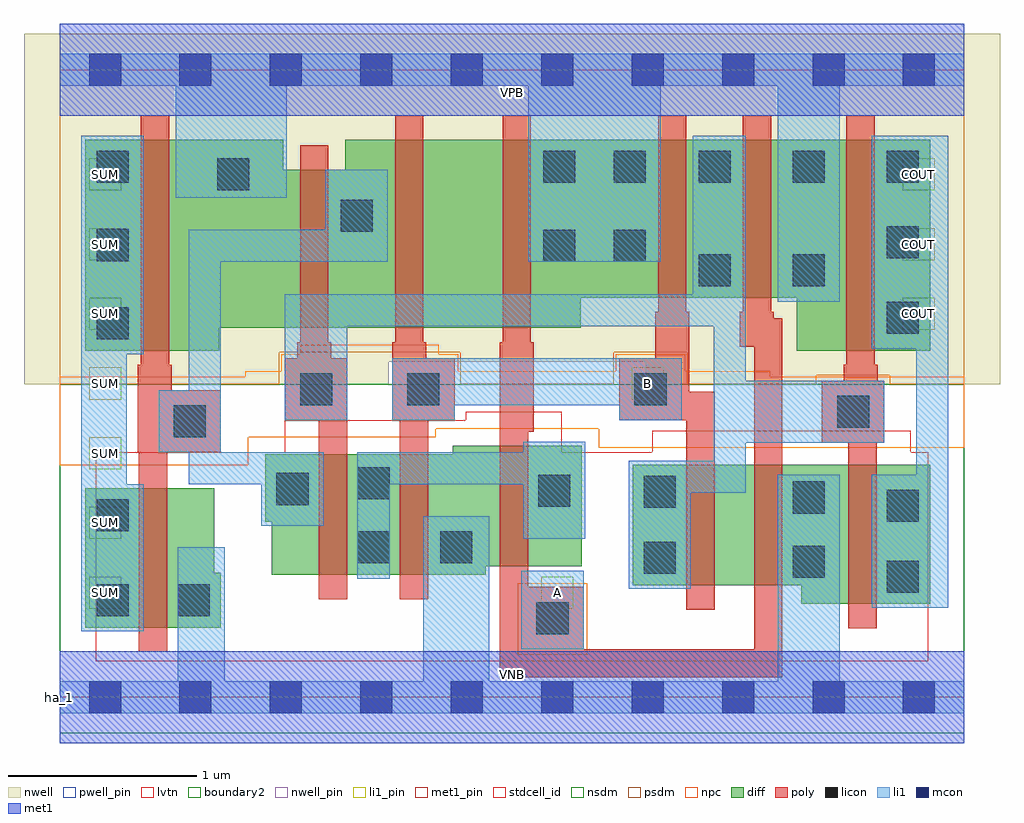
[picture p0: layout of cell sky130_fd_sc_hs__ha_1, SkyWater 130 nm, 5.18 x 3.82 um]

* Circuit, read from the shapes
.subckt sky130_fd_sc_hs__ha_1 A B COUT SUM VGND VNB VPB VPWR
XM1 VGND n1 SUM VNB sky130_fd_pr__nfet_01v8_lvt w=0.74 l=0.15
XM2 n2 n3 n1 VNB sky130_fd_pr__nfet_01v8_lvt w=0.64 l=0.15
XM3 VGND B n2 VNB sky130_fd_pr__nfet_01v8_lvt w=0.64 l=0.15
XM4 n2 A VGND VNB sky130_fd_pr__nfet_01v8_lvt w=0.64 l=0.15
XM5 n4 B n3 VNB sky130_fd_pr__nfet_01v8_lvt w=0.64 l=0.15
XM6 VGND A n4 VNB sky130_fd_pr__nfet_01v8_lvt w=0.64 l=0.15
XM7 COUT n3 VGND VNB sky130_fd_pr__nfet_01v8_lvt w=0.74 l=0.15
XM8 VPWR n1 SUM VPB sky130_fd_pr__pfet_01v8 w=1.12 l=0.15
XM9 n1 n3 VPWR VPB sky130_fd_pr__pfet_01v8 w=0.84 l=0.15
XM10 n5 B n1 VPB sky130_fd_pr__pfet_01v8 w=1 l=0.15
XM11 VPWR A n5 VPB sky130_fd_pr__pfet_01v8 w=1 l=0.15
XM12 n3 B VPWR VPB sky130_fd_pr__pfet_01v8 w=0.84 l=0.15
XM13 VPWR A n3 VPB sky130_fd_pr__pfet_01v8 w=0.84 l=0.15
XM14 COUT n3 VPWR VPB sky130_fd_pr__pfet_01v8 w=1.12 l=0.15
.ends

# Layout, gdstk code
import gdstk
lib = gdstk.Library(unit=1e-6, precision=1e-09)
def R(c, l, rs):  # rectangles x0, y0, x1, y1
    for r in rs: c.add(gdstk.rectangle(r[:2], r[2:], *l))
def A(c, l, x, y, w, h, nx, ny, dx, dy):  # array of equal rectangles
    R(c, l, [(x+i*dx, y+j*dy, x+i*dx+w, y+j*dy+h) for i in range(nx) for j in range(ny)])
def P(c, l, *ps):  # polygons
    for p in ps: c.add(gdstk.Polygon(p, *l))
nwell_pin = (64, 16)
nwell = (64, 20)
diff = (65, 20)
poly = (66, 20)
licon = (66, 44)
li1_pin = (67, 16)
li1 = (67, 20)
mcon = (67, 44)
met1_pin = (68, 16)
met1 = (68, 20)
stdcell_id = (81, 4)
nsdm = (93, 44)
psdm = (94, 20)
npc = (95, 20)
pwell_pin = (122, 16)
lvtn = (125, 44)
boundary2 = (236, 0)

sky130_fd_sc_hs__ha_1 = lib.new_cell('sky130_fd_sc_hs__ha_1')
R(sky130_fd_sc_hs__ha_1, nwell_pin, [(0,3.085,4.8,3.33)])
P(sky130_fd_sc_hs__ha_1, nwell, [(4.99,3.52),(-0.19,3.52),(-0.19,1.66),(1.745,1.66),(1.745,1.78),(3.11,1.78),(3.11,1.66),(4.99,1.66)])
P(sky130_fd_sc_hs__ha_1, diff, [(0.855,0.66),(0.82,0.66),(0.82,1.11),(0.135,1.11),(0.135,0.37),(0.855,0.37)],
  [(2.77,1.335),(2.085,1.335),(2.085,1.29),(1.09,1.29),(1.09,0.93),(1.125,0.93),(1.125,0.65),(2.26,0.65),(2.26,0.695),(2.77,0.695)],
  [(4.62,2.96),(1.515,2.96),(1.515,2.8),(1.185,2.8),(1.185,2.96),(0.135,2.96),(0.135,1.84),(0.845,1.84),(0.845,1.96),(2.765,1.96),(2.765,2.12),(3.91,2.12),(3.91,1.84),(4.62,1.84)],
  [(4.62,1.235),(3.04,1.235),(3.04,0.595),(3.935,0.595),(3.935,0.495),(4.62,0.495)])
P(sky130_fd_sc_hs__ha_1, poly, [(4.375,1.68),(4.34,1.68),(4.34,1.765),(4.325,1.765),(4.325,3.09),(4.175,3.09),(4.175,1.765),(4.16,1.765),(4.16,1.68),(4.045,1.68),(4.045,1.35),(4.185,1.35),(4.185,0.365),(4.335,0.365),(4.335,1.35),(4.375,1.35)],
  [(3.835,2.01),(3.79,2.01),(3.79,2.045),(3.775,2.045),(3.775,3.09),(3.625,3.09),(3.625,2.045),(3.61,2.045),(3.61,1.86),(3.685,1.86),(3.685,0.255),(2.78,0.255),(2.78,0.585),(2.485,0.585),(2.485,1.41),(2.515,1.41),(2.515,1.885),(2.5,1.885),(2.5,3.09),(2.35,3.09),(2.35,1.885),(2.335,1.885),(2.335,0.105),(3.835,0.105)],
  [(3.475,1.62),(3.34,1.62),(3.34,2.045),(3.325,2.045),(3.325,3.09),(3.175,3.09),(3.175,2.045),(3.16,2.045),(3.16,1.8),(2.97,1.8),(2.97,1.47),(3.325,1.47),(3.325,0.465),(3.475,0.465)],
  [(2.095,1.8),(1.945,1.8),(1.945,1.885),(1.93,1.885),(1.93,3.09),(1.78,3.09),(1.78,1.885),(1.765,1.885),(1.765,1.47),(1.805,1.47),(1.805,0.52),(1.955,0.52),(1.955,1.47),(2.095,1.47)],
  [(1.525,1.8),(1.44,1.8),(1.44,1.885),(1.425,1.885),(1.425,2.93),(1.275,2.93),(1.275,1.885),(1.26,1.885),(1.26,1.8),(1.195,1.8),(1.195,1.47),(1.375,1.47),(1.375,0.52),(1.525,0.52)],
  [(0.855,1.63),(0.595,1.63),(0.595,1.765),(0.58,1.765),(0.58,3.09),(0.43,3.09),(0.43,1.765),(0.415,1.765),(0.415,1.3),(0.42,1.3),(0.42,0.24),(0.57,0.24),(0.57,1.3),(0.855,1.3)])
A(sky130_fd_sc_hs__ha_1, licon, 0.195, 1.9, 0.17, 0.17, 1, 3, 0, 0.415)
A(sky130_fd_sc_hs__ha_1, licon, 3.39, 2.73, 0.17, 0.17, 3, 1, 0.5, 0)
R(sky130_fd_sc_hs__ha_1, licon, [(2.53,0.335,2.7,0.505), (0.195,0.43,0.365,0.6), (0.625,0.43,0.795,0.6), (4.39,0.555,4.56,0.725), (3.89,0.635,4.06,0.805), (3.1,0.655,3.27,0.825), (1.58,0.71,1.75,0.88), (2.02,0.71,2.19,0.88), (0.195,0.88,0.365,1.05), (4.39,0.93,4.56,1.1), (3.89,0.975,4.06,1.145), (3.1,1.005,3.27,1.175), (2.54,1.01,2.71,1.18), (1.15,1.02,1.32,1.19), (1.58,1.05,1.75,1.22), (0.605,1.38,0.775,1.55), (4.125,1.43,4.295,1.6), (1.275,1.55,1.445,1.72), (1.845,1.55,2.015,1.72), (3.05,1.55,3.22,1.72), (4.39,1.93,4.56,2.1), (3.39,2.18,3.56,2.35), (3.89,2.18,4.06,2.35), (2.565,2.31,2.735,2.48), (2.94,2.31,3.11,2.48), (4.39,2.33,4.56,2.5), (1.49,2.47,1.66,2.64), (0.835,2.69,1.005,2.86), (2.565,2.73,2.735,2.9), (2.94,2.73,3.11,2.9)])
A(sky130_fd_sc_hs__ha_1, li1_pin, 0.155, 0.47, 0.17, 0.17, 1, 7, 0, 0.37)
A(sky130_fd_sc_hs__ha_1, li1_pin, 4.475, 1.95, 0.17, 0.17, 1, 3, 0, 0.37)
R(sky130_fd_sc_hs__ha_1, li1_pin, [(2.555,0.47,2.725,0.64), (3.035,1.58,3.205,1.75)])
R(sky130_fd_sc_hs__ha_1, li1, [(2.45,0.255,2.78,0.67)])
P(sky130_fd_sc_hs__ha_1, li1, [(2.485,2.31),(2.485,3.245),(1.205,3.245),(1.205,2.65),(0.615,2.65),(0.615,3.245),(0,3.245),(0,3.415),(4.8,3.415),(4.8,3.245),(4.14,3.245),(4.14,2.1),(3.81,2.1),(3.81,3.245),(3.19,3.245),(3.19,2.31)],
  [(0.625,0.085),(0.625,0.795),(0.875,0.795),(0.875,0.085),(1.93,0.085),(1.93,0.96),(2.28,0.96),(2.28,0.085),(3.81,0.085),(3.81,1.18),(4.14,1.18),(4.14,0.085),(4.8,0.085),(4.8,-0.085),(0,-0.085),(0,0.085)],
  [(2.97,1.47),(2.97,1.55),(2.095,1.55),(2.095,1.47),(1.765,1.47),(1.765,1.8),(3.3,1.8),(3.3,1.47)],
  [(3.64,1.68),(4.375,1.68),(4.375,1.35),(3.64,1.35),(3.64,1.085),(3.35,1.085),(3.35,0.575),(3.02,0.575),(3.02,1.255),(3.47,1.255),(3.47,1.97),(1.525,1.97),(1.525,1.47),(1.195,1.47),(1.195,2.14),(3.36,2.14),(3.36,2.98),(3.64,2.98)],
  [(0.115,2.98),(0.445,2.98),(0.445,1.82),(0.355,1.82),(0.355,1.13),(0.445,1.13),(0.445,0.35),(0.115,0.35)],
  [(4.31,1.85),(4.31,2.98),(4.715,2.98),(4.715,0.475),(4.31,0.475),(4.31,1.18),(4.545,1.18),(4.545,1.85)],
  [(2.46,0.84),(2.46,1.13),(1.75,1.13),(1.75,0.63),(1.58,0.63),(1.58,1.3),(2.46,1.3),(2.46,1.355),(2.79,1.355),(2.79,0.84)],
  [(1.07,0.91),(1.07,1.13),(0.685,1.13),(0.685,1.3),(0.525,1.3),(0.525,1.63),(0.685,1.63),(0.685,2.48),(1.41,2.48),(1.41,2.8),(1.74,2.8),(1.74,2.31),(0.855,2.31),(0.855,1.3),(1.4,1.3),(1.4,0.91)])
A(sky130_fd_sc_hs__ha_1, mcon, 0.155, -0.085, 0.17, 0.17, 10, 2, 0.48, 3.33)
R(sky130_fd_sc_hs__ha_1, met1_pin, [(0,0,4.8,0.245), (0,3.085,4.8,3.33)])
R(sky130_fd_sc_hs__ha_1, met1, [(0,-0.245,4.8,0.245), (0,3.085,4.8,3.575)])
R(sky130_fd_sc_hs__ha_1, stdcell_id, [(0,0,4.8,3.33)])
R(sky130_fd_sc_hs__ha_1, nsdm, [(0,-0.19,4.8,1.66)])
P(sky130_fd_sc_hs__ha_1, psdm, [(4.8,3.52),(0,3.52),(0,1.66),(1.165,1.66),(1.165,1.83),(2.125,1.83),(2.125,1.66),(2.94,1.66),(2.94,1.83),(3.33,1.83),(3.33,1.66),(4.015,1.66),(4.015,1.71),(4.405,1.71),(4.405,1.66),(4.8,1.66)])
R(sky130_fd_sc_hs__ha_1, npc, [(2.43,0.225,2.8,0.605)])
P(sky130_fd_sc_hs__ha_1, npc, [(4.8,1.7),(3.77,1.7),(3.77,1.73),(3.32,1.73),(3.32,1.82),(2.95,1.82),(2.95,1.73),(2.115,1.73),(2.115,1.82),(2.01,1.82),(2.01,1.87),(1.28,1.87),(1.28,1.82),(1.175,1.82),(1.175,1.73),(0.985,1.73),(0.985,1.7),(0,1.7),(0,1.23),(1,1.23),(1,1.38),(1.995,1.38),(1.995,1.425),(2.86,1.425),(2.86,1.325),(4.8,1.325)])
R(sky130_fd_sc_hs__ha_1, pwell_pin, [(0,0,4.8,0.245)])
P(sky130_fd_sc_hs__ha_1, lvtn, [(4.61,1.3),(4.515,1.3),(4.515,1.415),(3.145,1.415),(3.145,1.3),(2.665,1.3),(2.665,1.515),(2.155,1.515),(2.155,1.47),(1.195,1.47),(1.195,1.3),(0.19,1.3),(0.19,0.19),(4.61,0.19)])
R(sky130_fd_sc_hs__ha_1, boundary2, [(0,0,4.8,3.33)])
sky130_fd_sc_hs__ha_1.add(gdstk.Label('ha_1', (0,0), layer=83, texttype=44))
sky130_fd_sc_hs__ha_1.add(gdstk.Label('VNB', (2.4,0.123), layer=64, texttype=59))
sky130_fd_sc_hs__ha_1.add(gdstk.Label('VPB', (2.4,3.208), layer=64, texttype=5))
sky130_fd_sc_hs__ha_1.add(gdstk.Label('VPWR', (2.4,3.208), layer=68, texttype=5))
sky130_fd_sc_hs__ha_1.add(gdstk.Label('VGND', (2.4,0.123), layer=68, texttype=5))
sky130_fd_sc_hs__ha_1.add(gdstk.Label('B', (3.12,1.665), layer=67, texttype=5))
sky130_fd_sc_hs__ha_1.add(gdstk.Label('SUM', (0.24,0.555), layer=67, texttype=5))
sky130_fd_sc_hs__ha_1.add(gdstk.Label('SUM', (0.24,0.925), layer=67, texttype=5))
sky130_fd_sc_hs__ha_1.add(gdstk.Label('SUM', (0.24,1.295), layer=67, texttype=5))
sky130_fd_sc_hs__ha_1.add(gdstk.Label('SUM', (0.24,1.665), layer=67, texttype=5))
sky130_fd_sc_hs__ha_1.add(gdstk.Label('SUM', (0.24,2.035), layer=67, texttype=5))
sky130_fd_sc_hs__ha_1.add(gdstk.Label('SUM', (0.24,2.405), layer=67, texttype=5))
sky130_fd_sc_hs__ha_1.add(gdstk.Label('SUM', (0.24,2.775), layer=67, texttype=5))
sky130_fd_sc_hs__ha_1.add(gdstk.Label('COUT', (4.56,2.035), layer=67, texttype=5))
sky130_fd_sc_hs__ha_1.add(gdstk.Label('COUT', (4.56,2.405), layer=67, texttype=5))
sky130_fd_sc_hs__ha_1.add(gdstk.Label('COUT', (4.56,2.775), layer=67, texttype=5))
sky130_fd_sc_hs__ha_1.add(gdstk.Label('A', (2.64,0.555), layer=67, texttype=5))

lib.write_gds('sky130_fd_sc_hs__ha_1.gds')
